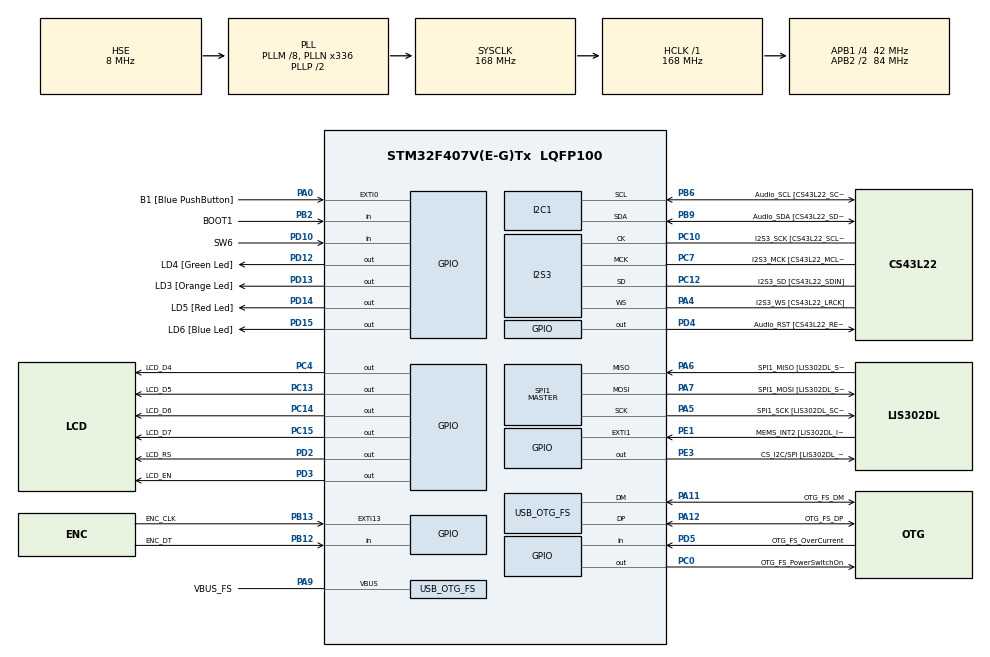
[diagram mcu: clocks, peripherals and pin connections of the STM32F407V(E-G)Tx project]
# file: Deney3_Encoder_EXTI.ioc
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I2S3.AudioFreq-Half_Duplex_Master=I2S_AUDIOFREQ_96K
I2S3.ErrorAudioFreq=-2.34 %
I2S3.ErrorAudioFreq-Half_Duplex_Master=0.8 %
I2S3.FullDuplexMode=I2S_FULLDUPLEXMODE_DISABLE
I2S3.Instance=SPI$Index
I2S3.RealAudioFreq=93.75 KHz
I2S3.RealAudioFreq-Half_Duplex_Master=96.774 KHz
I2S3.VirtualMode=I2S_MODE_MASTER
Mcu.Family=STM32F4
Mcu.Name=STM32F407V(E-G)Tx
Mcu.Package=LQFP100
NVIC.EXTI15_10_IRQn=true\:0\:0\:false\:false\:true\:true\:true\:true
NVIC.OTG_FS_IRQn=true\:0\:0\:false\:false\:true\:true\:true\:true
NVIC.PriorityGroup=NVIC_PRIORITYGROUP_0
PA0-WKUP.GPIO_Label=B1 [Blue PushButton]
PA0-WKUP.GPIO_ModeDefaultEXTI=GPIO_MODE_EVT_RISING
PA0-WKUP.GPIO_PuPd=GPIO_NOPULL
PA0-WKUP.Signal=GPXTI0
PA10.GPIO_Label=OTG_FS_ID
PA10.GPIO_Mode=GPIO_MODE_AF_PP
PA10.GPIO_PuPd=GPIO_NOPULL
PA10.GPIO_Speed=GPIO_SPEED_FREQ_LOW
PA10.Signal=USB_OTG_FS_ID
PA11.GPIO_Label=OTG_FS_DM
PA11.GPIO_Mode=GPIO_MODE_AF_PP
PA11.GPIO_PuPd=GPIO_NOPULL
PA11.GPIO_Speed=GPIO_SPEED_FREQ_LOW
PA11.Mode=Host_Only
PA11.Signal=USB_OTG_FS_DM
PA12.GPIO_Label=OTG_FS_DP
PA12.GPIO_Mode=GPIO_MODE_AF_PP
PA12.GPIO_PuPd=GPIO_NOPULL
PA12.GPIO_Speed=GPIO_SPEED_FREQ_LOW
PA12.Mode=Host_Only
PA12.Signal=USB_OTG_FS_DP
PA13.GPIO_Label=SWDIO
PA13.Mode=Serial_Wire
PA13.Signal=SYS_JTMS-SWDIO
PA14.GPIO_Label=SWCLK
PA14.Mode=Serial_Wire
PA14.Signal=SYS_JTCK-SWCLK
PA4.GPIO_Label=I2S3_WS [CS43L22_LRCK]
PA4.GPIO_Mode=GPIO_MODE_AF_PP
PA4.GPIO_PuPd=GPIO_NOPULL
PA4.GPIO_Speed=GPIO_SPEED_FREQ_LOW
PA4.Mode=Half_Duplex_Master
PA4.Signal=I2S3_WS
PA5.GPIO_Label=SPI1_SCK [LIS302DL_SCL/SPC]
PA5.GPIO_Mode=GPIO_MODE_AF_PP
PA5.GPIO_PuPd=GPIO_NOPULL
PA5.GPIO_Speed=GPIO_SPEED_FREQ_LOW
PA5.Mode=Full_Duplex_Master
PA5.Signal=SPI1_SCK
PA6.GPIO_Label=SPI1_MISO [LIS302DL_SDO]
PA6.GPIO_Mode=GPIO_MODE_AF_PP
PA6.GPIO_PuPd=GPIO_NOPULL
PA6.GPIO_Speed=GPIO_SPEED_FREQ_LOW
PA6.Mode=Full_Duplex_Master
PA6.Signal=SPI1_MISO
PA7.GPIO_Label=SPI1_MOSI [LIS302DL_SDA/SDI/SDO]
PA7.GPIO_Mode=GPIO_MODE_AF_PP
PA7.GPIO_PuPd=GPIO_NOPULL
PA7.GPIO_Speed=GPIO_SPEED_FREQ_LOW
PA7.Mode=Full_Duplex_Master
PA7.Signal=SPI1_MOSI
PA9.GPIO_Label=VBUS_FS
PA9.GPIO_Mode=GPIO_MODE_INPUT
PA9.GPIO_PuPd=GPIO_NOPULL
PA9.Mode=Activate_VBUS
PA9.Signal=USB_OTG_FS_VBUS
PB10.GPIO_Label=CLK_IN [MP45DT02_CLK]
PB10.GPIO_Mode=GPIO_MODE_AF_PP
PB10.GPIO_PuPd=GPIO_NOPULL
PB10.GPIO_Speed=GPIO_SPEED_FREQ_LOW
PB10.Signal=I2S2_CK
PB12.GPIO_Label=ENC_DT
PB12.Signal=GPIO_Input
PB13.GPIO_Label=ENC_CLK
PB13.GPIO_ModeDefaultEXTI=GPIO_MODE_IT_RISING_FALLING
PB13.GPIO_PuPd=GPIO_PULLUP
PB13.Signal=GPXTI13
PB2.GPIO_Label=BOOT1
PB2.GPIO_Mode=GPIO_MODE_INPUT
PB2.GPIO_PuPd=GPIO_NOPULL
PB2.Signal=GPIO_Input
PB3.GPIO_Label=SWO
PB3.Signal=SYS_JTDO-SWO
PB6.GPIO_Label=Audio_SCL [CS43L22_SCL]
PB6.GPIO_Mode=GPIO_MODE_AF_OD
PB6.GPIO_Pu=GPIO_PULLUP
PB6.GPIO_PuPd=GPIO_NOPULL
PB6.GPIO_Speed=GPIO_SPEED_FREQ_LOW
PB6.Mode=I2C
PB6.Signal=I2C1_SCL
PB9.GPIO_Label=Audio_SDA [CS43L22_SDA]
PB9.GPIO_Mode=GPIO_MODE_AF_OD
PB9.GPIO_Pu=GPIO_PULLUP
PB9.GPIO_PuPd=GPIO_NOPULL
PB9.GPIO_Speed=GPIO_SPEED_FREQ_LOW
PB9.Mode=I2C
PB9.Signal=I2C1_SDA
PC0.GPIO_Label=OTG_FS_PowerSwitchOn
PC0.GPIO_PuPd=GPIO_NOPULL
PC0.GPIO_Speed=GPIO_SPEED_FREQ_LOW
PC0.PinState=GPIO_PIN_SET
PC0.Signal=GPIO_Output
PC10.GPIO_Label=I2S3_SCK [CS43L22_SCLK]
PC10.GPIO_Mode=GPIO_MODE_AF_PP
PC10.GPIO_PuPd=GPIO_NOPULL
PC10.GPIO_Speed=GPIO_SPEED_FREQ_LOW
PC10.Mode=Half_Duplex_Master
PC10.Signal=I2S3_CK
PC12.GPIO_Label=I2S3_SD [CS43L22_SDIN]
PC12.GPIO_Mode=GPIO_MODE_AF_PP
PC12.GPIO_PuPd=GPIO_NOPULL
PC12.GPIO_Speed=GPIO_SPEED_FREQ_LOW
PC12.Mode=Half_Duplex_Master
PC12.Signal=I2S3_SD
PC13-ANTI_TAMP.GPIO_Label=LCD_D5
PC13-ANTI_TAMP.Signal=GPIO_Output
PC14-OSC32_IN.GPIO_Label=LCD_D6
PC14-OSC32_IN.Signal=GPIO_Output
PC15-OSC32_OUT.GPIO_Label=LCD_D7
PC15-OSC32_OUT.Signal=GPIO_Output
PC3.GPIO_Label=PDM_OUT [MP45DT02_DOUT]
PC3.GPIO_Mode=GPIO_MODE_AF_PP
PC3.GPIO_PuPd=GPIO_NOPULL
PC3.GPIO_Speed=GPIO_SPEED_FREQ_LOW
PC3.Signal=I2S2_SD
PC4.GPIO_Label=LCD_D4
PC4.Signal=GPIO_Output
PC7.GPIO_Label=I2S3_MCK [CS43L22_MCLK]
PC7.GPIO_Mode=GPIO_MODE_AF_PP
PC7.GPIO_PuPd=GPIO_NOPULL
PC7.GPIO_Speed=GPIO_SPEED_FREQ_LOW
PC7.Mode=Master_Clock_Activated
PC7.Signal=I2S3_MCK
PD10.GPIO_Label=SW6
PD10.Signal=GPIO_Input
PD12.GPIO_Label=LD4 [Green Led]
PD12.GPIO_PuPd=GPIO_NOPULL
PD12.GPIO_Speed=GPIO_SPEED_FREQ_LOW
PD12.Signal=GPIO_Output
PD13.GPIO_Label=LD3 [Orange Led]
PD13.GPIO_PuPd=GPIO_NOPULL
PD13.GPIO_Speed=GPIO_SPEED_FREQ_LOW
PD13.Signal=GPIO_Output
PD14.GPIO_Label=LD5 [Red Led]
PD14.GPIO_PuPd=GPIO_NOPULL
PD14.GPIO_Speed=GPIO_SPEED_FREQ_LOW
PD14.Signal=GPIO_Output
PD15.GPIO_Label=LD6 [Blue Led]
PD15.GPIO_PuPd=GPIO_NOPULL
PD15.GPIO_Speed=GPIO_SPEED_FREQ_LOW
PD15.Signal=GPIO_Output
PD2.GPIO_Label=LCD_RS
PD2.Signal=GPIO_Output
PD3.GPIO_Label=LCD_EN
PD3.Signal=GPIO_Output
PD4.GPIO_Label=Audio_RST [CS43L22_RESET]
PD4.GPIO_PuPd=GPIO_NOPULL
PD4.GPIO_Speed=GPIO_SPEED_FREQ_LOW
PD4.Signal=GPIO_Output
PD5.GPIO_Label=OTG_FS_OverCurrent
PD5.GPIO_Mode=GPIO_MODE_INPUT
PD5.GPIO_PuPd=GPIO_NOPULL
PD5.Signal=GPIO_Input
PE1.GPIO_Label=MEMS_INT2 [LIS302DL_INT2]
PE1.GPIO_ModeDefaultEXTI=GPIO_MODE_EVT_RISING
PE1.GPIO_PuPd=GPIO_NOPULL
PE1.Signal=GPXTI1
PE3.GPIO_Label=CS_I2C/SPI [LIS302DL_CS_I2C/SPI]
PE3.GPIO_PuPd=GPIO_NOPULL
PE3.GPIO_Speed=GPIO_SPEED_FREQ_LOW
PE3.Signal=GPIO_Output
PH0-OSC_IN.GPIO_Label=PH0-OSC_IN
PH0-OSC_IN.Mode=HSE-External-Oscillator
PH0-OSC_IN.Signal=RCC_OSC_IN
PH1-OSC_OUT.GPIO_Label=PH1-OSC_OUT
PH1-OSC_OUT.Mode=HSE-External-Oscillator
PH1-OSC_OUT.Signal=RCC_OSC_OUT
ProjectManager.HeapSize=0x200
ProjectManager.StackSize=0x400
ProjectManager.TargetToolchain=STM32CubeIDE
RCC.48MHZClocksFreq_Value=48000000
RCC.AHBFreq_Value=168000000
RCC.APB1CLKDivider=RCC_HCLK_DIV4
RCC.APB1Freq_Value=42000000
RCC.APB1TimFreq_Value=84000000
RCC.APB2CLKDivider=RCC_HCLK_DIV2
RCC.APB2Freq_Value=84000000
RCC.APB2TimFreq_Value=168000000
RCC.CortexFreq_Value=168000000
RCC.HCLKFreq_Value=168000000
RCC.HSE_VALUE=8000000
RCC.HSI_VALUE=16000000
RCC.PLLM=8
RCC.PLLN=336
RCC.PLLQ=7
RCC.SYSCLKFreq_VALUE=168000000
RCC.SYSCLKSource=RCC_SYSCLKSOURCE_PLLCLK
RCC.VCOOutputFreq_Value=336000000
SPI1.BaudRatePrescaler-Full_Duplex_Master=SPI_BAUDRATEPRESCALER_2
SPI1.CalculateBaudRate-Full_Duplex_Master=42.0 MBits/s
SPI1.Direction=SPI_DIRECTION_2LINES
SPI1.Mode=SPI_MODE_MASTER
SPI1.Mode-Full_Duplex_Master=SPI_MODE_MASTER
SPI1.VirtualType=VM_MASTER
USB_HOST.BSP.number=1
USB_HOST.USBH_HandleTypeDef-CDC_FS=hUsbHostFS
USB_HOST.VirtualModeFS=Cdc
USB_HOST0.BSP.STBoard=false
USB_HOST0.BSP.api=Unknown
USB_HOST0.BSP.instance=PC0
USB_HOST0.BSP.ip=GPIO
USB_HOST0.BSP.mode=Output
USB_HOST0.BSP.name=Drive_VBUS_FS
USB_HOST0.BSP.solution=PC0
USB_OTG_FS.VirtualMode=Host_Only
USB_OTG_FS.phy_itface=HCD_PHY_EMBEDDED
VP_USB_HOST_VS_USB_HOST_CDC_FS.Mode=CDC_FS
board=STM32F407G-DISC1

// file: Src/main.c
/* USER CODE BEGIN Header */
/**
  ******************************************************************************
  * @file           : main.c
  * @brief          : Main program body
  ******************************************************************************
  * @attention
  *
  * Copyright (c) 2025 STMicroelectronics.
  * All rights reserved.
  *
  * This software is licensed under terms that can be found in the LICENSE file
  * in the root directory of this software component.
  * If no LICENSE file comes with this software, it is provided AS-IS.
  *
  ******************************************************************************
  */
/* USER CODE END Header */
#include "main.h"
#include "usb_host.h"
#include "lcd.h"     // LCD Fonksiyonları için
#include <stdio.h>   // sprintf fonksiyonu için

I2C_HandleTypeDef hi2c1;

I2S_HandleTypeDef hi2s3;

SPI_HandleTypeDef hspi1;

void SystemClock_Config(void);
static void MX_GPIO_Init(void);
static void MX_I2C1_Init(void);
static void MX_I2S3_Init(void);
static void MX_SPI1_Init(void);
void MX_USB_HOST_Process(void);

/* USER CODE BEGIN 0 */
volatile int16_t encoder_sayac = 0;   // Encoder sayacı (Negatif değer alabilir)
char yon_bilgisi[4] = "---";
char lcd_buffer[16];                  // LCD metin tamponu
/* USER CODE END 0 */

int main(void)
{

  /* MCU Configuration--------------------------------------------------------*/

  /* Reset of all peripherals, Initializes the Flash interface and the Systick. */
  HAL_Init();

  /* Configure the system clock */
  SystemClock_Config();

  /* Initialize all configured peripherals */
  MX_GPIO_Init();
  MX_I2C1_Init();
  MX_I2S3_Init();
  MX_SPI1_Init();
  MX_USB_HOST_Init();
  /* USER CODE BEGIN 2 */
    LCD_Init(); // LCD ekranı başlat

    // --- ÖDEV İSTERİ: Açılış Animasyonu ---
    LCD_SetCursor(0, 0);
    LCD_Print("SCU BIL MUH");
    HAL_Delay(8000); // 2 Saniye Bekle
    LCD_Clear();

    LCD_SetCursor(0, 0);
    LCD_Print("DENEY-3 KESME");
    LCD_SetCursor(1, 0);
    LCD_Print("Grup No: 10");
    HAL_Delay(8000); // 3 Saniye Bekle
    LCD_Clear();
    /* USER CODE END 2 */

  /* Infinite loop */
    /* USER CODE BEGIN WHILE */
      while (1)
      {
          // --- 1. Satır: Sayaç Değeri ---
          // Not: Sayacı okumak için polling yapmıyoruz,
          // kesme fonksiyonu arka planda değişkeni güncelliyor.
          LCD_SetCursor(0, 0);
          sprintf(lcd_buffer, "ENC Val: %4d", encoder_sayac);
          LCD_Print(lcd_buffer);

          // --- 2. Satır: Yön Bilgisi (SW6 Kontrolü) ---
          // SW6 (PD10) anahtarı açık mı? (SET mi?)
          if (HAL_GPIO_ReadPin(SW6_GPIO_Port, SW6_Pin) == GPIO_PIN_SET)
          {
              LCD_SetCursor(1, 0);
              sprintf(lcd_buffer, "ENC Dir: %s", yon_bilgisi);
              LCD_Print(lcd_buffer);
          }
          else
          {
              // Anahtar kapalıysa satırı temizle
              LCD_SetCursor(1, 0);
              LCD_Print("                ");
          }

          HAL_Delay(50); // Ekran tazeleme hızı (50ms yeterlidir)
      }
      /* USER CODE END WHILE */
    MX_USB_HOST_Process();

  }

void SystemClock_Config(void)
{
  RCC_OscInitTypeDef RCC_OscInitStruct = {0};
  RCC_ClkInitTypeDef RCC_ClkInitStruct = {0};

  /** Configure the main internal regulator output voltage
  */
  __HAL_RCC_PWR_CLK_ENABLE();
  __HAL_PWR_VOLTAGESCALING_CONFIG(PWR_REGULATOR_VOLTAGE_SCALE1);

  /** Initializes the RCC Oscillators according to the specified parameters
  * in the RCC_OscInitTypeDef structure.
  */
  RCC_OscInitStruct.OscillatorType = RCC_OSCILLATORTYPE_HSE;
  RCC_OscInitStruct.HSEState = RCC_HSE_ON;
  RCC_OscInitStruct.PLL.PLLState = RCC_PLL_ON;
  RCC_OscInitStruct.PLL.PLLSource = RCC_PLLSOURCE_HSE;
  RCC_OscInitStruct.PLL.PLLM = 8;
  RCC_OscInitStruct.PLL.PLLN = 336;
  RCC_OscInitStruct.PLL.PLLP = RCC_PLLP_DIV2;
  RCC_OscInitStruct.PLL.PLLQ = 7;
  if (HAL_RCC_OscConfig(&RCC_OscInitStruct) != HAL_OK)
  {
    Error_Handler();
  }

  /** Initializes the CPU, AHB and APB buses clocks
  */
  RCC_ClkInitStruct.ClockType = RCC_CLOCKTYPE_HCLK|RCC_CLOCKTYPE_SYSCLK
                              |RCC_CLOCKTYPE_PCLK1|RCC_CLOCKTYPE_PCLK2;
  RCC_ClkInitStruct.SYSCLKSource = RCC_SYSCLKSOURCE_PLLCLK;
  RCC_ClkInitStruct.AHBCLKDivider = RCC_SYSCLK_DIV1;
  RCC_ClkInitStruct.APB1CLKDivider = RCC_HCLK_DIV4;
  RCC_ClkInitStruct.APB2CLKDivider = RCC_HCLK_DIV2;

  if (HAL_RCC_ClockConfig(&RCC_ClkInitStruct, FLASH_LATENCY_5) != HAL_OK)
  {
    Error_Handler();
  }
}

static void MX_I2C1_Init(void)
{

  hi2c1.Instance = I2C1;
  hi2c1.Init.ClockSpeed = 100000;
  hi2c1.Init.DutyCycle = I2C_DUTYCYCLE_2;
  hi2c1.Init.OwnAddress1 = 0;
  hi2c1.Init.AddressingMode = I2C_ADDRESSINGMODE_7BIT;
  hi2c1.Init.DualAddressMode = I2C_DUALADDRESS_DISABLE;
  hi2c1.Init.OwnAddress2 = 0;
  hi2c1.Init.GeneralCallMode = I2C_GENERALCALL_DISABLE;
  hi2c1.Init.NoStretchMode = I2C_NOSTRETCH_DISABLE;
  if (HAL_I2C_Init(&hi2c1) != HAL_OK)
  {
    Error_Handler();
  }

}

static void MX_I2S3_Init(void)
{

  hi2s3.Instance = SPI3;
  hi2s3.Init.Mode = I2S_MODE_MASTER_TX;
  hi2s3.Init.Standard = I2S_STANDARD_PHILIPS;
  hi2s3.Init.DataFormat = I2S_DATAFORMAT_16B;
  hi2s3.Init.MCLKOutput = I2S_MCLKOUTPUT_ENABLE;
  hi2s3.Init.AudioFreq = I2S_AUDIOFREQ_96K;
  hi2s3.Init.CPOL = I2S_CPOL_LOW;
  hi2s3.Init.ClockSource = I2S_CLOCK_PLL;
  hi2s3.Init.FullDuplexMode = I2S_FULLDUPLEXMODE_DISABLE;
  if (HAL_I2S_Init(&hi2s3) != HAL_OK)
  {
    Error_Handler();
  }

}

static void MX_SPI1_Init(void)
{

  /* SPI1 parameter configuration*/
  hspi1.Instance = SPI1;
  hspi1.Init.Mode = SPI_MODE_MASTER;
  hspi1.Init.Direction = SPI_DIRECTION_2LINES;
  hspi1.Init.DataSize = SPI_DATASIZE_8BIT;
  hspi1.Init.CLKPolarity = SPI_POLARITY_LOW;
  hspi1.Init.CLKPhase = SPI_PHASE_1EDGE;
  hspi1.Init.NSS = SPI_NSS_SOFT;
  hspi1.Init.BaudRatePrescaler = SPI_BAUDRATEPRESCALER_2;
  hspi1.Init.FirstBit = SPI_FIRSTBIT_MSB;
  hspi1.Init.TIMode = SPI_TIMODE_DISABLE;
  hspi1.Init.CRCCalculation = SPI_CRCCALCULATION_DISABLE;
  hspi1.Init.CRCPolynomial = 10;
  if (HAL_SPI_Init(&hspi1) != HAL_OK)
  {
    Error_Handler();
  }

}

static void MX_GPIO_Init(void)
{
  GPIO_InitTypeDef GPIO_InitStruct = {0};

  /* GPIO Ports Clock Enable */
  __HAL_RCC_GPIOE_CLK_ENABLE();
  __HAL_RCC_GPIOC_CLK_ENABLE();
  __HAL_RCC_GPIOH_CLK_ENABLE();
  __HAL_RCC_GPIOA_CLK_ENABLE();
  __HAL_RCC_GPIOB_CLK_ENABLE();
  __HAL_RCC_GPIOD_CLK_ENABLE();

  /*Configure GPIO pin Output Level */
  HAL_GPIO_WritePin(CS_I2C_SPI_GPIO_Port, CS_I2C_SPI_Pin, GPIO_PIN_RESET);

  /*Configure GPIO pin Output Level */
  HAL_GPIO_WritePin(GPIOC, LCD_D5_Pin|LCD_D6_Pin|LCD_D7_Pin|LCD_D4_Pin, GPIO_PIN_RESET);

  /*Configure GPIO pin Output Level */
  HAL_GPIO_WritePin(OTG_FS_PowerSwitchOn_GPIO_Port, OTG_FS_PowerSwitchOn_Pin, GPIO_PIN_SET);

  /*Configure GPIO pin Output Level */
  HAL_GPIO_WritePin(GPIOD, LD4_Pin|LD3_Pin|LD5_Pin|LD6_Pin
                          |LCD_RS_Pin|LCD_EN_Pin|Audio_RST_Pin, GPIO_PIN_RESET);

  /*Configure GPIO pin : CS_I2C_SPI_Pin */
  GPIO_InitStruct.Pin = CS_I2C_SPI_Pin;
  GPIO_InitStruct.Mode = GPIO_MODE_OUTPUT_PP;
  GPIO_InitStruct.Pull = GPIO_NOPULL;
  GPIO_InitStruct.Speed = GPIO_SPEED_FREQ_LOW;
  HAL_GPIO_Init(CS_I2C_SPI_GPIO_Port, &GPIO_InitStruct);

  /*Configure GPIO pins : LCD_D5_Pin LCD_D6_Pin LCD_D7_Pin OTG_FS_PowerSwitchOn_Pin
                           LCD_D4_Pin */
  GPIO_InitStruct.Pin = LCD_D5_Pin|LCD_D6_Pin|LCD_D7_Pin|OTG_FS_PowerSwitchOn_Pin
                          |LCD_D4_Pin;
  GPIO_InitStruct.Mode = GPIO_MODE_OUTPUT_PP;
  GPIO_InitStruct.Pull = GPIO_NOPULL;
  GPIO_InitStruct.Speed = GPIO_SPEED_FREQ_LOW;
  HAL_GPIO_Init(GPIOC, &GPIO_InitStruct);

  /*Configure GPIO pin : PDM_OUT_Pin */
  GPIO_InitStruct.Pin = PDM_OUT_Pin;
  GPIO_InitStruct.Mode = GPIO_MODE_AF_PP;
  GPIO_InitStruct.Pull = GPIO_NOPULL;
  GPIO_InitStruct.Speed = GPIO_SPEED_FREQ_LOW;
  GPIO_InitStruct.Alternate = GPIO_AF5_SPI2;
  HAL_GPIO_Init(PDM_OUT_GPIO_Port, &GPIO_InitStruct);

  /*Configure GPIO pin : B1_Pin */
  GPIO_InitStruct.Pin = B1_Pin;
  GPIO_InitStruct.Mode = GPIO_MODE_EVT_RISING;
  GPIO_InitStruct.Pull = GPIO_NOPULL;
  HAL_GPIO_Init(B1_GPIO_Port, &GPIO_InitStruct);

  /*Configure GPIO pins : BOOT1_Pin ENC_DT_Pin */
  GPIO_InitStruct.Pin = BOOT1_Pin|ENC_DT_Pin;
  GPIO_InitStruct.Mode = GPIO_MODE_INPUT;
  GPIO_InitStruct.Pull = GPIO_NOPULL;
  HAL_GPIO_Init(GPIOB, &GPIO_InitStruct);

  /*Configure GPIO pin : CLK_IN_Pin */
  GPIO_InitStruct.Pin = CLK_IN_Pin;
  GPIO_InitStruct.Mode = GPIO_MODE_AF_PP;
  GPIO_InitStruct.Pull = GPIO_NOPULL;
  GPIO_InitStruct.Speed = GPIO_SPEED_FREQ_LOW;
  GPIO_InitStruct.Alternate = GPIO_AF5_SPI2;
  HAL_GPIO_Init(CLK_IN_GPIO_Port, &GPIO_InitStruct);

  /*Configure GPIO pin : ENC_CLK_Pin */
  GPIO_InitStruct.Pin = ENC_CLK_Pin;
  GPIO_InitStruct.Mode = GPIO_MODE_IT_RISING_FALLING;
  GPIO_InitStruct.Pull = GPIO_PULLUP;
  HAL_GPIO_Init(ENC_CLK_GPIO_Port, &GPIO_InitStruct);

  /*Configure GPIO pins : SW6_Pin OTG_FS_OverCurrent_Pin */
  GPIO_InitStruct.Pin = SW6_Pin|OTG_FS_OverCurrent_Pin;
  GPIO_InitStruct.Mode = GPIO_MODE_INPUT;
  GPIO_InitStruct.Pull = GPIO_NOPULL;
  HAL_GPIO_Init(GPIOD, &GPIO_InitStruct);

  /*Configure GPIO pins : LD4_Pin LD3_Pin LD5_Pin LD6_Pin
                           LCD_RS_Pin LCD_EN_Pin Audio_RST_Pin */
  GPIO_InitStruct.Pin = LD4_Pin|LD3_Pin|LD5_Pin|LD6_Pin
                          |LCD_RS_Pin|LCD_EN_Pin|Audio_RST_Pin;
  GPIO_InitStruct.Mode = GPIO_MODE_OUTPUT_PP;
  GPIO_InitStruct.Pull = GPIO_NOPULL;
  GPIO_InitStruct.Speed = GPIO_SPEED_FREQ_LOW;
  HAL_GPIO_Init(GPIOD, &GPIO_InitStruct);

  /*Configure GPIO pin : MEMS_INT2_Pin */
  GPIO_InitStruct.Pin = MEMS_INT2_Pin;
  GPIO_InitStruct.Mode = GPIO_MODE_EVT_RISING;
  GPIO_InitStruct.Pull = GPIO_NOPULL;
  HAL_GPIO_Init(MEMS_INT2_GPIO_Port, &GPIO_InitStruct);

  /* EXTI interrupt init*/
  HAL_NVIC_SetPriority(EXTI15_10_IRQn, 0, 0);
  HAL_NVIC_EnableIRQ(EXTI15_10_IRQn);

}

/* USER CODE BEGIN 4 */
void HAL_GPIO_EXTI_Callback(uint16_t GPIO_Pin)
{
    // Kesme, Encoder'ın CLK pininden mi geldi?
    if(GPIO_Pin == ENC_CLK_Pin)
    {
        // Pinlerin anlık durumunu oku
        // Bu işlem çok hızlı yapılmalıdır (Interrupt içindeyiz)
        GPIO_PinState clk_durumu = HAL_GPIO_ReadPin(ENC_CLK_GPIO_Port, ENC_CLK_Pin);
        GPIO_PinState dt_durumu = HAL_GPIO_ReadPin(ENC_DT_GPIO_Port, ENC_DT_Pin);

        // Yön Tayini Algoritması
        if (clk_durumu != dt_durumu)
        {
            encoder_sayac++;          // Sağa dönüş (CW) -> Artır
            sprintf(yon_bilgisi, "CW ");
        }
        else
        {
            encoder_sayac--;          // Sola dönüş (CCW) -> Azalt
            sprintf(yon_bilgisi, "CCW");
        }
    }
}
/* USER CODE END 4 */

void Error_Handler(void)
{
  __disable_irq();
  while (1)
  {
  }
}
